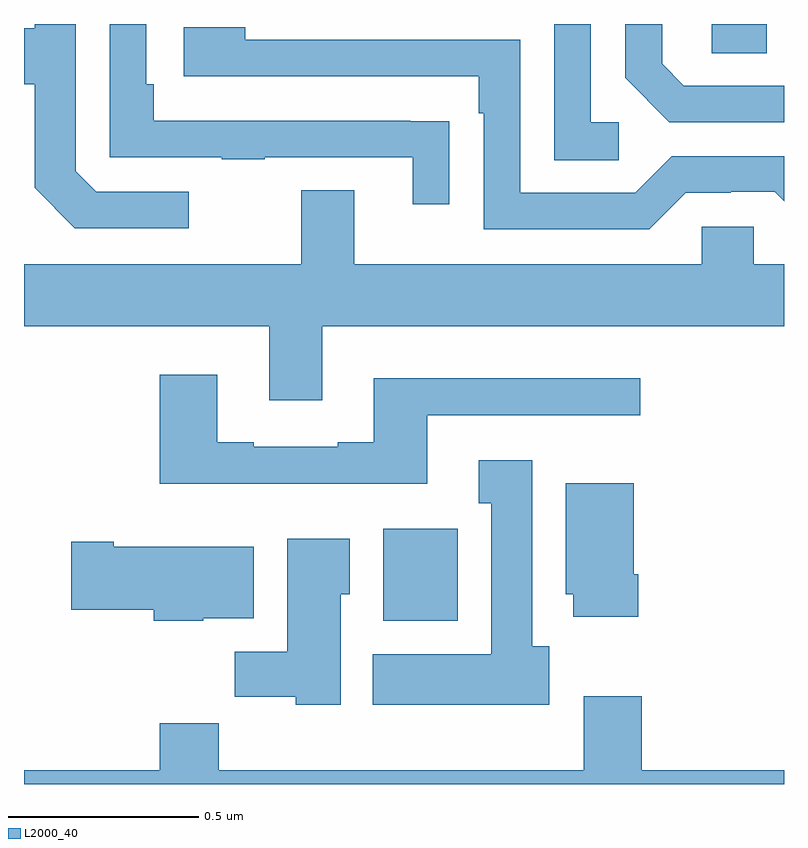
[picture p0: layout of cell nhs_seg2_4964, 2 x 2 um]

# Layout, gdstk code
import gdstk
lib = gdstk.Library(unit=1e-6, precision=1e-09)
def R(c, l, rs):  # rectangles x0, y0, x1, y1
    for r in rs: c.add(gdstk.rectangle(r[:2], r[2:], *l))
def P(c, l, *ps):  # polygons
    for p in ps: c.add(gdstk.Polygon(p, *l))
L2000_40 = (2000, 40)

nhs_seg2_4964 = lib.new_cell('nhs_seg2_4964')
R(nhs_seg2_4964, L2000_40, [(173.945,612.23,174.142,612.472), (174.81,613.723,174.955,613.8)])
P(nhs_seg2_4964, L2000_40, [(175,613.638),(174.736,613.638),(174.679,613.695),(174.679,613.8),(174.582,613.8),(174.582,613.658),(174.698,613.542),(175,613.542)],
  [(173.434,613.359),(173.19,613.359),(173.136,613.413),(173.136,613.8),(173.028,613.8),(173.028,613.789),(173,613.789),(173,613.642),(173.028,613.642),(173.028,613.369),(173.133,613.263),(173.434,613.263)],
  [(174.119,613.544),(174.017,613.544),(174.017,613.545),(173.342,613.545),(173.342,613.642),(173.322,613.642),(173.322,613.8),(173.226,613.8),(173.226,613.449),(173.521,613.449),(173.521,613.444),(173.633,613.444),(173.633,613.449),(174.023,613.449),(174.023,613.326),(174.119,613.326)],
  [(174.565,613.542),(174.492,613.542),(174.492,613.8),(174.396,613.8),(174.396,613.441),(174.565,613.441)],
  [(174.741,613.356),(174.86,613.356),(174.86,613.359),(174.975,613.359),(175,613.334),(175,613.452),(174.705,613.452),(174.609,613.356),(174.306,613.356),(174.306,613.758),(173.582,613.758),(173.582,613.792),(173.421,613.792),(173.421,613.662),(174.197,613.662),(174.197,613.565),(174.21,613.565),(174.21,613.26),(174.645,613.26)],
  [(173.785,613.004),(175,613.004),(175,613.168),(174.921,613.168),(174.921,613.266),(174.783,613.266),(174.783,613.168),(173.869,613.168),(173.869,613.363),(173.729,613.363),(173.729,613.168),(173,613.168),(173,613.004),(173.645,613.004),(173.645,612.81),(173.785,612.81)],
  [(174.061,612.771),(174.622,612.771),(174.622,612.868),(173.921,612.868),(173.921,612.7),(173.825,612.7),(173.825,612.687),(173.605,612.687),(173.605,612.7),(173.509,612.7),(173.509,612.877),(173.357,612.877),(173.357,612.59),(174.061,612.59)],
  [(174.382,612.162),(174.337,612.162),(174.337,612.652),(174.197,612.652),(174.197,612.539),(174.23,612.539),(174.23,612.142),(173.918,612.142),(173.918,612.008),(174.382,612.008)],
  [(174.617,612.352),(174.604,612.352),(174.604,612.592),(174.425,612.592),(174.425,612.3),(174.446,612.3),(174.446,612.24),(174.617,612.24)],
  [(173.833,612.3),(173.857,612.3),(173.857,612.445),(173.693,612.445),(173.693,612.148),(173.554,612.148),(173.554,612.03),(173.715,612.03),(173.715,612.008),(173.833,612.008)],
  [(173.472,612.236),(173.605,612.236),(173.605,612.424),(173.236,612.424),(173.236,612.437),(173.124,612.437),(173.124,612.259),(173.342,612.259),(173.342,612.23),(173.472,612.23)],
  [(175,611.836),(174.626,611.836),(174.626,612.031),(174.473,612.031),(174.473,611.836),(173.513,611.836),(173.513,611.96),(173.357,611.96),(173.357,611.836),(173,611.836),(173,611.8),(175,611.8)])

lib.write_gds('nhs_seg2_4964.gds')
